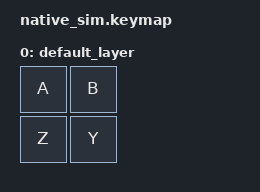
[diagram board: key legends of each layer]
#include <dt-bindings/zmk/keys.h>
#include <behaviors.dtsi>
#include <dt-bindings/zmk/input_mock.h>

/ {
    combos {
        compatible = "zmk,combos";
        combo_one {
            timeout-ms = <30>;
            key-positions = <0 1>;
            bindings = <&kp C>;
        };

        combo_two {
            timeout-ms = <30>;
            key-positions = <2 3>;
            bindings = <&kp D>;
        };
    };

    keymap {
        compatible = "zmk,keymap";

        default_layer {
            bindings = <
                &kp A &kp B
                &kp Z &kp Y
            >;
        };
    };
};

&mock_input {
    events = <
        ZMK_INPUT_MOCK_PRESS(0,0,10)
        ZMK_INPUT_MOCK_PRESS(0,1,10)
        ZMK_INPUT_MOCK_RELEASE(0,0,10)
        ZMK_INPUT_MOCK_RELEASE(0,1,10)

        ZMK_INPUT_MOCK_PRESS(1,0,10)
        ZMK_INPUT_MOCK_PRESS(1,1,10)
        ZMK_INPUT_MOCK_RELEASE(1,0,10)
        ZMK_INPUT_MOCK_RELEASE(1,1,10)
    >;
};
